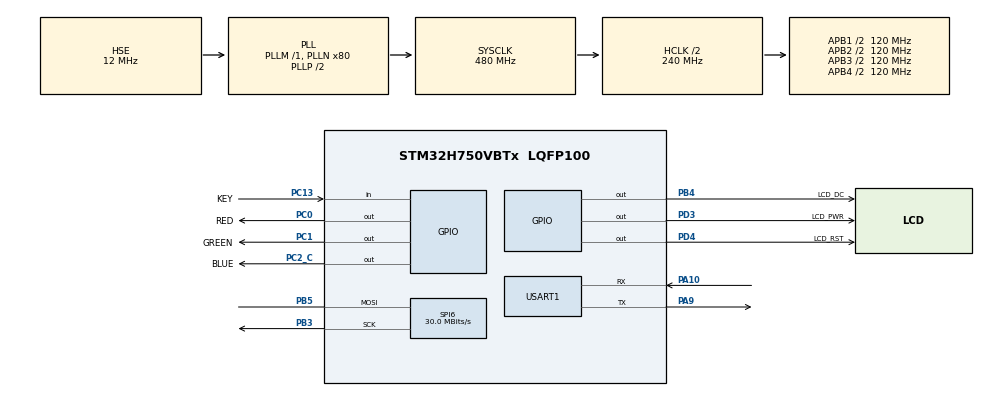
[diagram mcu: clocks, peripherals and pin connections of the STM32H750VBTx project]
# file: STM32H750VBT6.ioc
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CORTEX_M7.CPU_DCache=Enabled
CORTEX_M7.CPU_ICache=Enabled
CORTEX_M7.MPU_Control=__NULL
Mcu.Family=STM32H7
Mcu.Name=STM32H750VBTx
Mcu.Package=LQFP100
NVIC.PriorityGroup=NVIC_PRIORITYGROUP_2
NVIC.USART1_IRQn=true\:0\:0\:false\:false\:true\:true\:true
PA10.Mode=Asynchronous
PA10.Signal=USART1_RX
PA13\ (JTMS/SWDIO).Mode=Serial_Wire
PA13\ (JTMS/SWDIO).Signal=DEBUG_JTMS-SWDIO
PA14\ (JTCK/SWCLK).Mode=Serial_Wire
PA14\ (JTCK/SWCLK).Signal=DEBUG_JTCK-SWCLK
PA9.Mode=Asynchronous
PA9.Signal=USART1_TX
PB3\ (JTDO/TRACESWO).Mode=Simplex_Bidirectional_Master
PB3\ (JTDO/TRACESWO).Signal=SPI6_SCK
PB4\ (NJTRST).GPIO_Label=LCD_DC
PB4\ (NJTRST).GPIO_PuPd=GPIO_PULLUP
PB4\ (NJTRST).Signal=GPIO_Output
PB5.Mode=Simplex_Bidirectional_Master
PB5.Signal=SPI6_MOSI
PC0.GPIO_Label=RED
PC0.GPIO_PuPd=GPIO_PULLUP
PC0.PinState=GPIO_PIN_SET
PC0.Signal=GPIO_Output
PC1.GPIO_Label=GREEN
PC1.GPIO_PuPd=GPIO_PULLUP
PC1.GPIO_Speed=GPIO_SPEED_FREQ_LOW
PC1.PinState=GPIO_PIN_SET
PC1.Signal=GPIO_Output
PC13.GPIO_Label=KEY
PC13.GPIO_PuPd=GPIO_PULLUP
PC13.Signal=GPIO_Input
PC14-OSC32_IN\ (OSC32_IN).Mode=LSE-External-Oscillator
PC14-OSC32_IN\ (OSC32_IN).Signal=RCC_OSC32_IN
PC15-OSC32_OUT\ (OSC32_OUT).Mode=LSE-External-Oscillator
PC15-OSC32_OUT\ (OSC32_OUT).Signal=RCC_OSC32_OUT
PC2_C.GPIO_Label=BLUE
PC2_C.GPIO_PuPd=GPIO_PULLUP
PC2_C.PinState=GPIO_PIN_SET
PC2_C.Signal=GPIO_Output
PD3.GPIO_Label=LCD_PWR
PD3.GPIO_PuPd=GPIO_PULLUP
PD3.Signal=GPIO_Output
PD4.GPIO_Label=LCD_RST
PD4.GPIO_PuPd=GPIO_PULLUP
PD4.Signal=GPIO_Output
PH0-OSC_IN\ (PH0).Mode=HSE-External-Oscillator
PH0-OSC_IN\ (PH0).Signal=RCC_OSC_IN
PH1-OSC_OUT\ (PH1).Mode=HSE-External-Oscillator
PH1-OSC_OUT\ (PH1).Signal=RCC_OSC_OUT
ProjectManager.HeapSize=0x800
ProjectManager.StackSize=0x800
ProjectManager.TargetToolchain=EWARM V8
RCC.ADCFreq_Value=480000000
RCC.APB1Freq_Value=120000000
RCC.APB2Freq_Value=120000000
RCC.APB3Freq_Value=120000000
RCC.APB4Freq_Value=120000000
RCC.CortexFreq_Value=480000000
RCC.D1PPRE=RCC_APB3_DIV2
RCC.D2PPRE1=RCC_APB1_DIV2
RCC.D2PPRE2=RCC_APB2_DIV2
RCC.D3PPRE=RCC_APB4_DIV2
RCC.DIVM1=1
RCC.DIVM2=1
RCC.DIVM3=1
RCC.DIVN1=80
RCC.DIVN2=80
RCC.DIVN3=80
RCC.FLatency=FLASH_LATENCY_4
RCC.HCLKFreq_Value=240000000
RCC.HPRE=RCC_HCLK_DIV2
RCC.HSE_VALUE=12000000
RCC.PLLFRACN=0
RCC.PLLSourceVirtual=RCC_PLLSOURCE_HSE
RCC.PWR_Regulator_Voltage_Scale=PWR_REGULATOR_VOLTAGE_SCALE0
RCC.ProductRev=revV
RCC.SYSCLKFreq_VALUE=480000000
RCC.SYSCLKSource=RCC_SYSCLKSOURCE_PLLCLK
RCC.USBFreq_Value=480000000
SPI6.BaudRatePrescaler=SPI_BAUDRATEPRESCALER_4
SPI6.CLKPhase=SPI_PHASE_2EDGE
SPI6.CLKPolarity=SPI_POLARITY_HIGH
SPI6.CalculateBaudRate=30.0 MBits/s
SPI6.DataSize=SPI_DATASIZE_8BIT
SPI6.Direction=SPI_DIRECTION_1LINE
SPI6.Mode=SPI_MODE_MASTER
SPI6.VirtualType=VM_MASTER
USART1.VirtualMode-Asynchronous=VM_ASYNC
board=custom

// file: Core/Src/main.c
/* USER CODE BEGIN Header */
/**
  ******************************************************************************
  * @file           : main.c
  * @brief          : Main program body
  ******************************************************************************
  * @attention
  *
  * <h2><center>&copy; Copyright (c) 2021 STMicroelectronics.
  * All rights reserved.</center></h2>
  *
  * This software component is licensed by ST under BSD 3-Clause license,
  * the "License"; You may not use this file except in compliance with the
  * License. You may obtain a copy of the License at:
  *                        opensource.org/licenses/BSD-3-Clause
  *
  ******************************************************************************
  */
/* USER CODE END Header */
#include "main.h"
#include "spi.h"
#include "usart.h"
#include "gpio.h"

/* USER CODE BEGIN Includes */
#include "BSP_GPIO.h"
#include "BSP_USART.h"
#include "BSP_spi.h"
#include "stdio.h"
#include "tftlcd.h"
/* USER CODE END Includes */

void SystemClock_Config(void);

/* USER CODE BEGIN 0 */
	char str[50] = {0};
	u8 t;
	char tbuf[40];
/* USER CODE END 0 */

int main(void)
{
  /* USER CODE BEGIN 1 */
	u8 color = 0;
  /* USER CODE END 1 */

  /* Enable I-Cache---------------------------------------------------------*/
  SCB_EnableICache();

  /* Enable D-Cache---------------------------------------------------------*/
  SCB_EnableDCache();

  /* MCU Configuration--------------------------------------------------------*/

  /* Reset of all peripherals, Initializes the Flash interface and the Systick. */
  HAL_Init();

  /* Configure the system clock */
  SystemClock_Config();

  /* Initialize all configured peripherals */
  MX_GPIO_Init();
  MX_USART1_UART_Init();
  MX_SPI6_Init();
  /* USER CODE BEGIN 2 */
	__HAL_SPI_ENABLE(&hspi6);
	LCD_Init();
	LCD_Clear(BLACK); 		//����
	BACK_COLOR=BLACK;
	POINT_COLOR=CYAN;
//	LCD_ShowString(0, 0, 160, 12, 12, "Boring_TECH");
	LCD_ShowString(0, 15, 160, 12, 12, "TFTLCD TEST 240*135");

	LCD_ShowString(0, 30, 240, 18, 32, "STM32H750VBT6");
//	LCD_ShowString(0, 45, 160, 12, 12, "2021/8/20");
  /* USER CODE END 2 */

  /* Infinite loop */
  /* USER CODE BEGIN WHILE */
  while (1)
  {
		switch(color%7)
		{
			case 0:
				LED_R(0);
				LED_G(1);
				LED_B(1);
				break;
			case 1:
				LED_R(1);
				LED_G(0);
				LED_B(1);
				break;
			case 2:
				LED_R(1);
				LED_G(1);
				LED_B(0);
				break;
			case 3:
				LED_R(0);
				LED_G(0);
				LED_B(1);
				break;
			case 4:
				LED_R(0);
				LED_G(1);
				LED_B(0);
				break;
			case 5:
				LED_R(1);
				LED_G(0);
				LED_B(0);
				break;
			case 6:
				LED_R(0);
				LED_G(0);
				LED_B(0);
				break;
			default:
				break;
		}
		color++;

		sprintf(str,"%4dABCD",t);
		LCD_ShowString(0, 60, 240, 12, 12, str);

		t++;

		HAL_Delay(500);
    /* USER CODE END WHILE */

  }
}

void SystemClock_Config(void)
{
  RCC_OscInitTypeDef RCC_OscInitStruct = {0};
  RCC_ClkInitTypeDef RCC_ClkInitStruct = {0};

  /** Supply configuration update enable
  */
  HAL_PWREx_ConfigSupply(PWR_LDO_SUPPLY);
  /** Configure the main internal regulator output voltage
  */
  __HAL_PWR_VOLTAGESCALING_CONFIG(PWR_REGULATOR_VOLTAGE_SCALE0);

  while(!__HAL_PWR_GET_FLAG(PWR_FLAG_VOSRDY)) {}
  /** Initializes the RCC Oscillators according to the specified parameters
  * in the RCC_OscInitTypeDef structure.
  */
  RCC_OscInitStruct.OscillatorType = RCC_OSCILLATORTYPE_HSE;
  RCC_OscInitStruct.HSEState = RCC_HSE_ON;
  RCC_OscInitStruct.PLL.PLLState = RCC_PLL_ON;
  RCC_OscInitStruct.PLL.PLLSource = RCC_PLLSOURCE_HSE;
  RCC_OscInitStruct.PLL.PLLM = 1;
  RCC_OscInitStruct.PLL.PLLN = 80;
  RCC_OscInitStruct.PLL.PLLP = 2;
  RCC_OscInitStruct.PLL.PLLQ = 2;
  RCC_OscInitStruct.PLL.PLLR = 2;
  RCC_OscInitStruct.PLL.PLLRGE = RCC_PLL1VCIRANGE_3;
  RCC_OscInitStruct.PLL.PLLVCOSEL = RCC_PLL1VCOWIDE;
  RCC_OscInitStruct.PLL.PLLFRACN = 0;
  if (HAL_RCC_OscConfig(&RCC_OscInitStruct) != HAL_OK)
  {
    Error_Handler();
  }
  /** Initializes the CPU, AHB and APB buses clocks
  */
  RCC_ClkInitStruct.ClockType = RCC_CLOCKTYPE_HCLK|RCC_CLOCKTYPE_SYSCLK
                              |RCC_CLOCKTYPE_PCLK1|RCC_CLOCKTYPE_PCLK2
                              |RCC_CLOCKTYPE_D3PCLK1|RCC_CLOCKTYPE_D1PCLK1;
  RCC_ClkInitStruct.SYSCLKSource = RCC_SYSCLKSOURCE_PLLCLK;
  RCC_ClkInitStruct.SYSCLKDivider = RCC_SYSCLK_DIV1;
  RCC_ClkInitStruct.AHBCLKDivider = RCC_HCLK_DIV2;
  RCC_ClkInitStruct.APB3CLKDivider = RCC_APB3_DIV2;
  RCC_ClkInitStruct.APB1CLKDivider = RCC_APB1_DIV2;
  RCC_ClkInitStruct.APB2CLKDivider = RCC_APB2_DIV2;
  RCC_ClkInitStruct.APB4CLKDivider = RCC_APB4_DIV2;

  if (HAL_RCC_ClockConfig(&RCC_ClkInitStruct, FLASH_LATENCY_4) != HAL_OK)
  {
    Error_Handler();
  }
}

void Error_Handler(void)
{
  __disable_irq();
  while (1)
  {
  }
}

/************************ (C) COPYRIGHT STMicroelectronics *****END OF FILE****/
